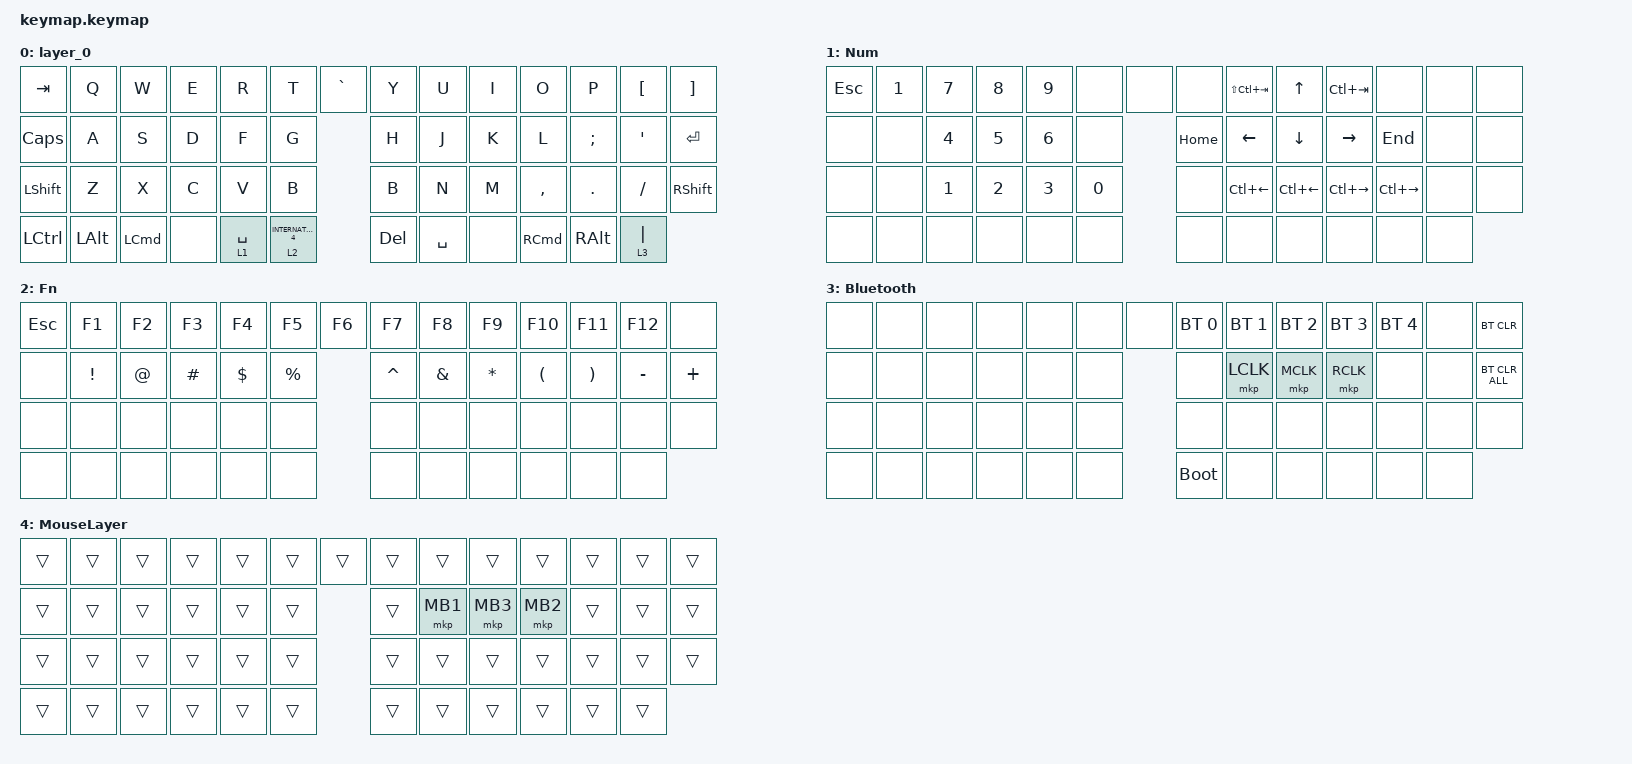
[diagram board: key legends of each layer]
#include <behaviors.dtsi>
#include <dt-bindings/zmk/bt.h>
#include <dt-bindings/zmk/keys.h>
#include <dt-bindings/zmk/pointing.h>

/ {
    keymap {
        compatible = "zmk,keymap";

        layer_0 {
            bindings = <
&kp TAB           &kp Q         &kp W             &kp E  &kp R        &kp T                  &kp GRAVE  &kp Y       &kp U      &kp I  &kp O              &kp P          &kp LEFT_BRACKET  &kp RIGHT_BRACKET
&kp CAPSLOCK      &kp A         &kp S             &kp D  &kp F        &kp G                             &kp H       &kp J      &kp K  &kp L              &kp SEMICOLON  &kp SQT           &kp RETURN
&kp LSHIFT        &kp Z         &kp X             &kp C  &kp V        &kp B                             &kp B       &kp N      &kp M  &kp COMMA          &kp PERIOD     &kp SLASH         &kp RIGHT_SHIFT
&kp LEFT_CONTROL  &kp LEFT_ALT  &kp LEFT_COMMAND  &none  &lt 1 SPACE  &lt 2 INTERNATIONAL_4             &kp DELETE  &kp SPACE  &none  &kp RIGHT_COMMAND  &kp RIGHT_ALT  &lt 3 PIPE
            >;
        };

        Num {
            bindings = <
&kp ESC  &kp N1  &kp N7  &kp N8  &kp N9  &none   &none  &none     &kp LS(LC(TAB))  &kp UP_ARROW    &kp LC(TAB)    &none          &none  &none
&none    &none   &kp N4  &kp N5  &kp N6  &none          &kp HOME  &kp LEFT         &kp DOWN_ARROW  &kp RIGHT      &kp END        &none  &none
&none    &none   &kp N1  &kp N2  &kp N3  &kp N0         &none     &kp LC(LEFT)     &kp LC(LEFT)    &kp LC(RIGHT)  &kp LC(RIGHT)  &none  &none
&none    &none   &none   &none   &none   &none          &none     &none            &none           &none          &none          &none
            >;
        };

        Fn {
            bindings = <
&kp ESC  &kp F1           &kp F2       &kp F3    &kp F4      &kp F5       &kp F6  &kp F7     &kp F8         &kp F9        &kp F10               &kp F11                &kp F12    &none
&none    &kp EXCLAMATION  &kp AT_SIGN  &kp HASH  &kp DOLLAR  &kp PERCENT          &kp CARET  &kp AMPERSAND  &kp ASTERISK  &kp LEFT_PARENTHESIS  &kp RIGHT_PARENTHESIS  &kp MINUS  &kp PLUS
&none    &none            &none        &none     &none       &none                &none      &none          &none         &none                 &none                  &none      &none
&none    &none            &none        &none     &none       &none                &none      &none          &none         &none                 &none                  &none
            >;
        };

        Bluetooth {
            bindings = <
&none  &none  &none  &none  &none  &none  &none  &bt BT_SEL 0  &bt BT_SEL 1  &bt BT_SEL 2  &bt BT_SEL 3  &bt BT_SEL 4  &none  &bt BT_CLR
&none  &none  &none  &none  &none  &none         &none         &mkp LCLK     &mkp MCLK     &mkp RCLK     &none         &none  &bt BT_CLR_ALL
&none  &none  &none  &none  &none  &none         &none         &none         &none         &none         &none         &none  &none
&none  &none  &none  &none  &none  &none         &bootloader   &none         &none         &none         &none         &none
            >;
        };

        MouseLayer {
            bindings = <
&trans  &trans  &trans  &trans  &trans  &trans  &trans  &trans  &trans    &trans    &trans    &trans  &trans  &trans
&trans  &trans  &trans  &trans  &trans  &trans          &trans  &mkp MB1  &mkp MB3  &mkp MB2  &trans  &trans  &trans
&trans  &trans  &trans  &trans  &trans  &trans          &trans  &trans    &trans    &trans    &trans  &trans  &trans
&trans  &trans  &trans  &trans  &trans  &trans          &trans  &trans    &trans    &trans    &trans  &trans
            >;
        };
    };
};
